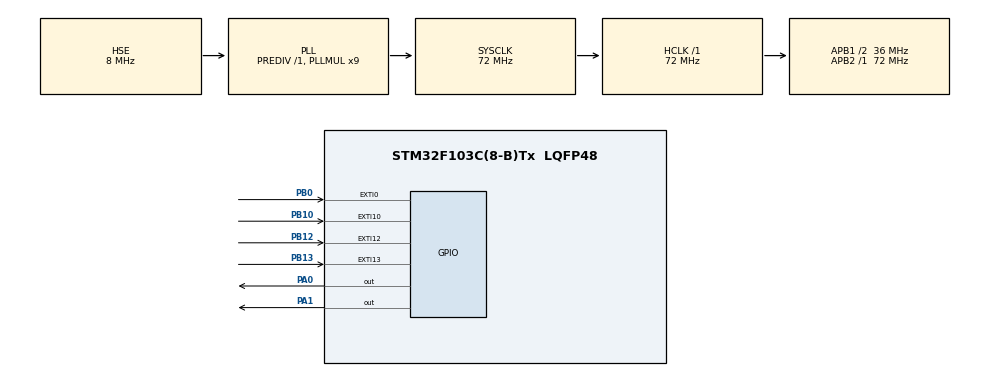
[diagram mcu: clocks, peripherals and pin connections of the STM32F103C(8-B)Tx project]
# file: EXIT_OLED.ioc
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Mcu.Family=STM32F1
Mcu.Name=STM32F103C(8-B)Tx
Mcu.Package=LQFP48
NVIC.EXTI0_IRQn=true\:0\:0\:false\:false\:true\:true\:true
NVIC.EXTI15_10_IRQn=true\:0\:0\:false\:false\:true\:true\:true
NVIC.PriorityGroup=NVIC_PRIORITYGROUP_4
PA0-WKUP.GPIO_PuPd=GPIO_NOPULL
PA0-WKUP.GPIO_Speed=GPIO_SPEED_FREQ_HIGH
PA0-WKUP.PinState=GPIO_PIN_SET
PA0-WKUP.Signal=GPIO_Output
PA1.GPIO_Speed=GPIO_SPEED_FREQ_HIGH
PA1.PinState=GPIO_PIN_SET
PA1.Signal=GPIO_Output
PA13.Mode=Serial_Wire
PA13.Signal=SYS_JTMS-SWDIO
PA14.Mode=Serial_Wire
PA14.Signal=SYS_JTCK-SWCLK
PB0.GPIO_ModeDefaultEXTI=GPIO_MODE_IT_FALLING
PB0.GPIO_PuPd=GPIO_PULLUP
PB0.Signal=GPXTI0
PB10.GPIO_ModeDefaultEXTI=GPIO_MODE_IT_FALLING
PB10.GPIO_PuPd=GPIO_PULLUP
PB10.Signal=GPXTI10
PB12.GPIO_ModeDefaultEXTI=GPIO_MODE_IT_FALLING
PB12.GPIO_PuPd=GPIO_PULLUP
PB12.Signal=GPXTI12
PB13.GPIO_ModeDefaultEXTI=GPIO_MODE_IT_FALLING
PB13.GPIO_PuPd=GPIO_PULLUP
PB13.Signal=GPXTI13
PD0-OSC_IN.Mode=HSE-External-Oscillator
PD0-OSC_IN.Signal=RCC_OSC_IN
PD1-OSC_OUT.Mode=HSE-External-Oscillator
PD1-OSC_OUT.Signal=RCC_OSC_OUT
ProjectManager.HeapSize=0x200
ProjectManager.StackSize=0x400
ProjectManager.TargetToolchain=MDK-ARM V5
RCC.AHBFreq_Value=72000000
RCC.APB1CLKDivider=RCC_HCLK_DIV2
RCC.APB1Freq_Value=36000000
RCC.APB1TimFreq_Value=72000000
RCC.APB2Freq_Value=72000000
RCC.APB2TimFreq_Value=72000000
RCC.HCLKFreq_Value=72000000
RCC.PLLMUL=RCC_PLL_MUL9
RCC.PLLSourceVirtual=RCC_PLLSOURCE_HSE
RCC.SYSCLKFreq_VALUE=72000000
RCC.SYSCLKSource=RCC_SYSCLKSOURCE_PLLCLK
RCC.USBFreq_Value=72000000
board=custom

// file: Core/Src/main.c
/* USER CODE BEGIN Header */
/**
  ******************************************************************************
  * @file           : main.c
  * @brief          : Main program body
  ******************************************************************************
  * @attention
  *
  * Copyright (c) 2024 STMicroelectronics.
  * All rights reserved.
  *
  * This software is licensed under terms that can be found in the LICENSE file
  * in the root directory of this software component.
  * If no LICENSE file comes with this software, it is provided AS-IS.
  *
  ******************************************************************************
  */
/* USER CODE END Header */
#include "main.h"
#include "gpio.h"

/* USER CODE BEGIN Includes */
#include "oled.h"
#include "stm32f1xx_it.h"
/* USER CODE END Includes */

void SystemClock_Config(void);

int main(void)
{

  /* MCU Configuration--------------------------------------------------------*/

  /* Reset of all peripherals, Initializes the Flash interface and the Systick. */
  HAL_Init();

  /* Configure the system clock */
  SystemClock_Config();

  /* Initialize all configured peripherals */
  MX_GPIO_Init();
  /* USER CODE BEGIN 2 */
	uint16_t a;
	int16_t b = 0;
	int c = 0;
	b--;
	c--;
	OLED_Init();
	OLED_ShowString(1, 1, "Count:");
	OLED_ShowString(2, 1, "Count:");
  /* USER CODE END 2 */

  /* Infinite loop */
  while (1)
  {

    /* USER CODE BEGIN 3 */
		OLED_ShowNum(1, 7, get_count(), 5);
		a = get_count();
		if (a == 3) {
			HAL_GPIO_TogglePin(GPIOA, GPIO_PIN_1);
		}
		OLED_ShowSignedNum(2, 7, get_encoder_count(), 5);
		OLED_ShowSignedNum(3, 1, b, 5);
		OLED_ShowSignedNum(4, 1, c, 5);
  }
  /* USER CODE END 3 */
}

void SystemClock_Config(void)
{
  RCC_OscInitTypeDef RCC_OscInitStruct = {0};
  RCC_ClkInitTypeDef RCC_ClkInitStruct = {0};

  /** Initializes the RCC Oscillators according to the specified parameters
  * in the RCC_OscInitTypeDef structure.
  */
  RCC_OscInitStruct.OscillatorType = RCC_OSCILLATORTYPE_HSE;
  RCC_OscInitStruct.HSEState = RCC_HSE_ON;
  RCC_OscInitStruct.HSEPredivValue = RCC_HSE_PREDIV_DIV1;
  RCC_OscInitStruct.HSIState = RCC_HSI_ON;
  RCC_OscInitStruct.PLL.PLLState = RCC_PLL_ON;
  RCC_OscInitStruct.PLL.PLLSource = RCC_PLLSOURCE_HSE;
  RCC_OscInitStruct.PLL.PLLMUL = RCC_PLL_MUL9;
  if (HAL_RCC_OscConfig(&RCC_OscInitStruct) != HAL_OK)
  {
    Error_Handler();
  }
  /** Initializes the CPU, AHB and APB buses clocks
  */
  RCC_ClkInitStruct.ClockType = RCC_CLOCKTYPE_HCLK|RCC_CLOCKTYPE_SYSCLK
                              |RCC_CLOCKTYPE_PCLK1|RCC_CLOCKTYPE_PCLK2;
  RCC_ClkInitStruct.SYSCLKSource = RCC_SYSCLKSOURCE_PLLCLK;
  RCC_ClkInitStruct.AHBCLKDivider = RCC_SYSCLK_DIV1;
  RCC_ClkInitStruct.APB1CLKDivider = RCC_HCLK_DIV2;
  RCC_ClkInitStruct.APB2CLKDivider = RCC_HCLK_DIV1;

  if (HAL_RCC_ClockConfig(&RCC_ClkInitStruct, FLASH_LATENCY_2) != HAL_OK)
  {
    Error_Handler();
  }
}

void Error_Handler(void)
{
  __disable_irq();
  while (1)
  {
  }
}
